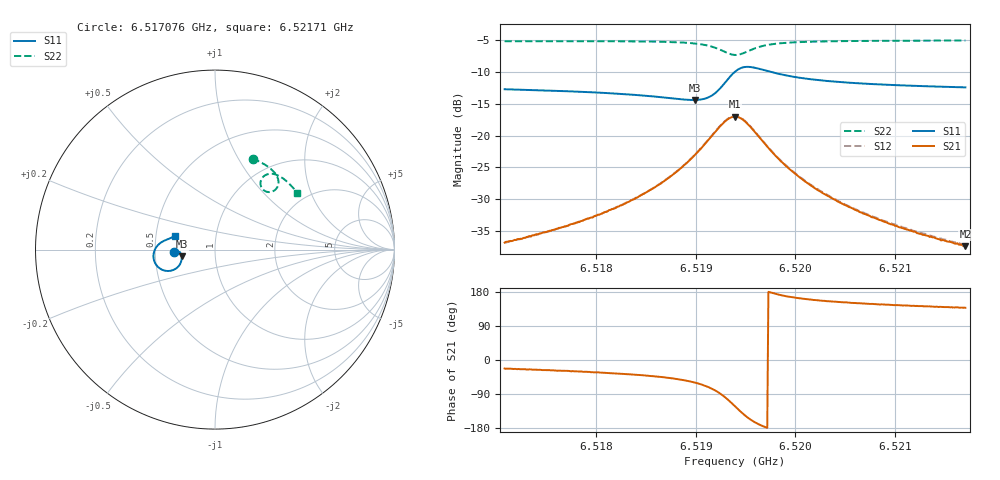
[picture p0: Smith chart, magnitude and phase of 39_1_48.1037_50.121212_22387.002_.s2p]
#  HZ  S  RI  R  50.00
! Rohde & Schwarz Vector Network Analyzer
! Rohde-Schwarz,ZNB20-2Port,1311601062101988,3.16
! Created: UTC 12/23/2023, 3:38:32 AM
! freq[Hz]  re:S11  im:S11  re:S21  im:S21  re:S12  im:S12  re:S22  im:S22
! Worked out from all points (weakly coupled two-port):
!   401 points, 6.517076 GHz to 6.52171 GHz, reference 50 ohm
!   highest |S21| = -17.03 dB at 6.519393 GHz (marker M1); lowest = -37.3 dB at 6.52171 GHz (marker M2)
!   lowest |S11| = -14.4 dB at 6.518988 GHz (marker M3), VSWR 1.47, Z = 34.2 - j2.6 ohm
!   |S11| at or under -10 dB: start of sweep to 6.519393 GHz; 6.519747 GHz to end of sweep
!   |S22| runs from -7.4 to -5.1 dB; largest |S21 - S12| = 0.0042
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6.5170761e9  -0.23 -0.0158  0.0134 -0.00551  0.0136 -0.00508  0.2092 0.5071
6.5175163e9  -0.225 -0.00933  0.0159 -0.00791  0.016 -0.00756  0.2419 0.4928
6.5178523e9  -0.2199 -0.00583  0.0184 -0.0109  0.0187 -0.0103  0.2666 0.4798
6.5182578e9  -0.2117 -0.00399  0.023 -0.017  0.0236 -0.0163  0.297 0.4604
6.5186285e9  -0.2004 -0.00929  0.0295 -0.0288  0.0306 -0.028  0.3257 0.4357
6.5188255e9  -0.1924 -0.019  0.0338 -0.0416  0.0353 -0.0407  0.3413 0.4161
6.5189877e9  -0.1863 -0.0366  0.0355 -0.0604  0.0378 -0.0599  0.3518 0.3923
6.519092e9  -0.1864 -0.0566  0.0322 -0.0799  0.0349 -0.0793  0.3537 0.3709
6.5191731e9  -0.1936 -0.0787  0.0222 -0.0996  0.0254 -0.0998  0.3484 0.3503
6.5193005e9  -0.2374 -0.1153  -0.0223 -0.1286  -0.0188 -0.1302  0.3142 0.3219
6.5193468e9  -0.2658 -0.1191  -0.0485 -0.1289  -0.0452 -0.1314  0.2936 0.3211
6.5193932e9  -0.2962 -0.1114  -0.075 -0.1191  -0.072 -0.1221  0.2732 0.3297
6.5194395e9  -0.3217 -0.0924  -0.0955 -0.0995  -0.0935 -0.1031  0.2588 0.3464
6.5194975e9  -0.3396 -0.0603  -0.1079 -0.0698  -0.1067 -0.0733  0.2532 0.3711
6.5195901e9  -0.34 -0.0139  -0.1031 -0.0297  -0.1031 -0.0328  0.2654 0.4022
6.5196944e9  -0.3238 0.0182  -0.0857 -0.00486  -0.0862 -0.00743  0.2885 0.4184
6.5199145e9  -0.2916 0.045  -0.0557 0.0117  -0.0567 0.0103  0.3286 0.4208
6.5201694e9  -0.2698 0.0551  -0.0373 0.0143  -0.0382 0.0134  0.359 0.4093
6.5205054e9  -0.2533 0.0616  -0.0252 0.0132  -0.0256 0.0128  0.3875 0.3902
6.5209457e9  -0.2401 0.0681  -0.0168 0.0115  -0.0175 0.0112  0.4164 0.3639
6.521467e9  -0.2294 0.0752  -0.0115 0.00965  -0.0122 0.00972  0.445 0.3322
6.5217103e9  -0.2253 0.0784  -0.0101 0.0091  -0.0105 0.00918  0.457 0.3172
